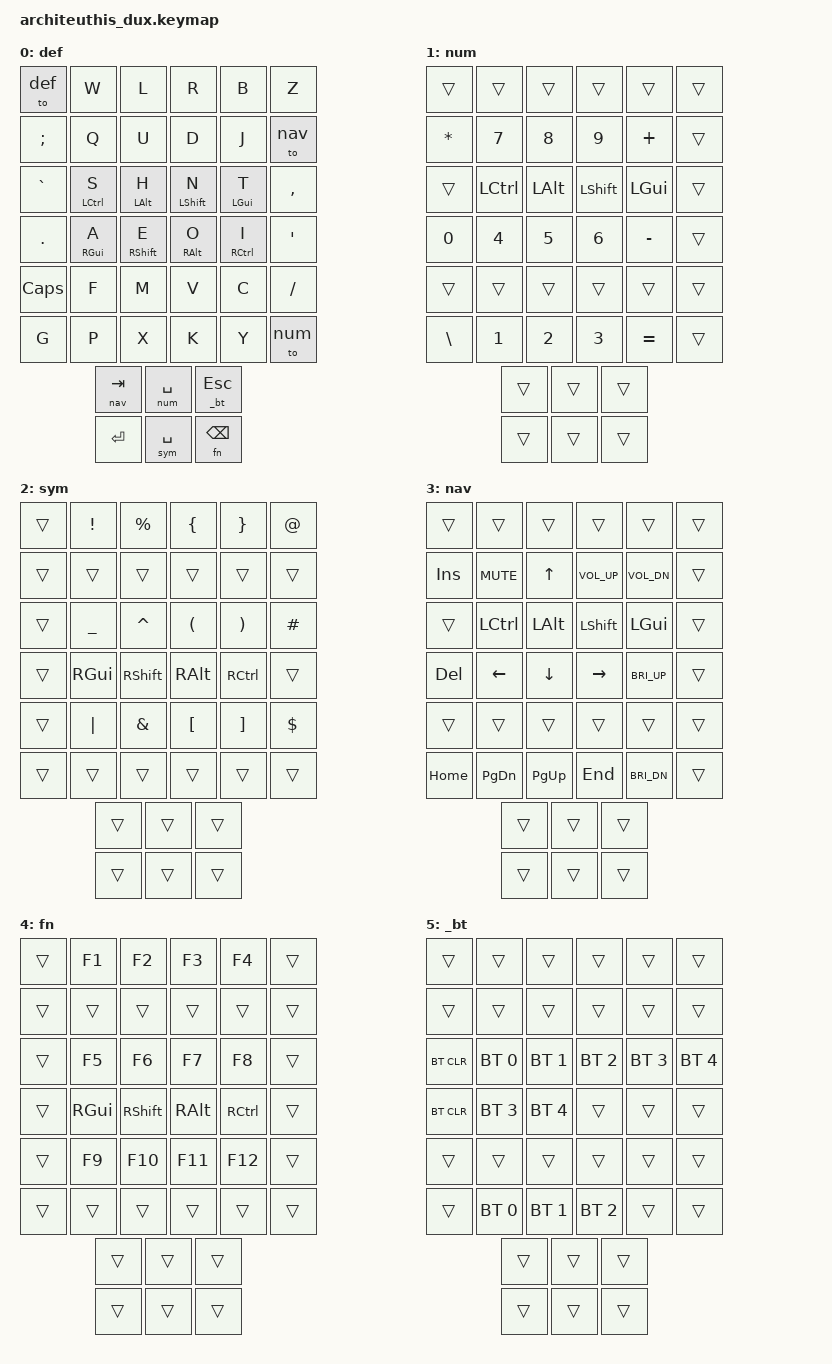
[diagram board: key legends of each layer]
/*
 * Copyright (c) 2020 The ZMK Contributors
 *
 * SPDX-License-Identifier: MIT
 */

#include <behaviors.dtsi>
#include <dt-bindings/zmk/keys.h>
#include <dt-bindings/zmk/bt.h>

#define def 0
#define num 1
#define sym 2
#define nav 3
#define fn 4
#define _bt 5

&kscan0 {
    debounce-period = <32>;
};

&lt {
    flavor = "balanced";
    tapping-term-ms = <1024>;
};

/ {
        behaviors {
            mt_l: left_hand_positional_hold_tap {
                compatible = "zmk,behavior-hold-tap";
                label = "LEFT_POSITIONAL_HOLD_TAP";
                #binding-cells = <2>;
                flavor = "balanced";
                tapping-term-ms = <256>;
                bindings = <&kp>, <&kp>;
                hold-trigger-key-positions = <6 7 8 9 10 11 18 19 20 21 22 23 30 31 32 33 34 35 39 40 41>;
            };
            mt_r: right_hand_positional_hold_tap {
                compatible = "zmk,behavior-hold-tap";
                label = "RIGHT_POSITIONAL_HOLD_TAP";
                #binding-cells = <2>;
                flavor = "balanced";
                tapping-term-ms = <256>;
                bindings = <&kp>, <&kp>;
                hold-trigger-key-positions = <0 1 2 3 4 5 12 13 14 15 16 17 24 25 26 27 28 29 36 37 38>;
            };
        };

        
        keymap {
                compatible = "zmk,keymap";

                def {
// ┌─────┬─────┬─────┬─────┬─────┬─────┐           ┌─────┬─────┬─────┬─────┬─────┬─────┐
// │     │  W  │  L  │  R  │  B  │  Z  │           │  ;  │  Q  │  U  │  D  │  J  │     │
// ├─────┼─────┼─────┼─────┼─────┼─────┤           ├─────┼─────┼─────┼─────┼─────┼─────┤
// │     │  S  │  H  │  N  │  T  │  ,  │           │  .  │  A  │  E  │  O  │  I  │     │
// ├─────┼─ c ─┼─ a ─┼─ s ─┼─ g ─┼─────┤           ├─────┼─ g ─┼─ s ─┼─ a ─┼─ c ─┼─────┤
// │     │  F  │  M  │  V  │  C  │  ?  │           │  G  │  P  │  X  │  K  │  Y  │     │
// └─────┴─────┴─────┴──┬──┴──┬──┴──┬──┴──┐     ┌──┴──┬──┴──┬──┴──┬──┴─────┴─────┴─────┘
//                      │     │ Spc │ Esc │     │ Ret │ Spc │     │
//                      └─────┴ num ┴ nav ┘     └─fn──┴ sym ┴─────┘

                        bindings = <
    &to def     &kp W       &kp L       &kp R       &kp B       &kp Z
        &kp SEMI        &kp Q       &kp U       &kp D       &kp J       &to nav

    &kp GRAVE       &mt_l LCTRL S     &mt_l LALT H      &mt_l LSHFT N     &mt_l LGUI T     &kp COMMA
        &kp DOT     &mt_r RGUI A      &mt_r RSHFT E     &mt_r RALT O      &mt_r RCTRL I     &kp APOS

    &kp CLCK       &kp F       &kp M       &kp V       &kp C       &kp SLASH 
        &kp G       &kp P       &kp X       &kp K       &kp Y       &to num
                  
    &lt nav TAB     &lt num SPACE       &lt _bt ESC
        &kp RET     &lt sym SPACE       &lt fn BSPC
                        >;
                };
                
                num {
// ┌─────┬─────┬─────┬─────┬─────┬─────┐           ┌─────┬─────┬─────┬─────┬─────┬─────┐
// │     │     │ fn  │ sym │     │     │           │     │  7  │  8  │  9  │  0  │     │
// ├─────┼─────┼─────┼─────┼─────┼─────┤           ├─────┼─────┼─────┼─────┼─────┼─────┤
// │     │  c  │  a  │  s  │  g  │ Rst │           │     │  4  │  5  │  6  │  -  │     │
// ├─────┼─────┼─────┼─────┼─────┼─────┤           ├─────┼─────┼─────┼─────┼─────┼─────┤
// │     │ cap │     │ def │     │ BLd │           │     │  1  │  2  │  3  │  =  │     │
// └─────┴─────┴─────┴──┬──┴──┬──┴──┬──┴──┐     ┌──┴──┬──┴──┬──┴──┬──┴─────┴─────┴─────┘
//                      │     │ Tab │     │     │     │ Bsp │     │
//                      └─────┴─────┴─────┘     └─────┴─────┴─────┘

                        bindings = <
    &trans     &trans       &trans      &trans      &trans       &trans
        &kp ASTRK        &kp N7      &kp N8      &kp N9      &kp PLUS        &trans

    &trans      &kp LCTRL     &kp LALT       &kp LSHFT     &kp LGUI     &trans
        &kp N0     &kp N4      &kp N5     &kp N6      &kp MINUS     &trans

    &trans     &trans       &trans      &trans      &trans       &trans
        &kp BSLH       &kp N1       &kp N2       &kp N3       &kp EQUAL     &trans

    &trans      &trans      &trans
        &trans      &trans      &trans

                        >;
                };

                sym {
// ┌─────┬─────┬─────┬─────┬─────┬─────┐           ┌─────┬─────┬─────┬─────┬─────┬─────┐
// │     │  "  │  '  │  {  │  }  │     │           │     │     │ num │ nav │     │     │
// ├─────┼─────┼─────┼─────┼─────┼─────┤           ├─────┼─────┼─────┼─────┼─────┼─────┤
// │     │  ~  │  `  │  (  │  )  │     │           │ Rst │  g  │  s  │  a  │  c  │     │
// ├─────┼─────┼─────┼─────┼─────┼─────┤           ├─────┼─────┼─────┼─────┼─────┼─────┤
// │     │  |  │  \  │  [  │  ]  │     │           │ BLd │     │ def │     │     │     │
// └─────┴─────┴─────┴──┬──┴──┬──┴──┬──┴──┐     ┌──┴──┬──┴──┬──┴──┬──┴─────┴─────┴─────┘
//                      │     │     │     │     │     │     │     │
//                      └─────┴─────┴─────┘     └─────┴─────┴─────┘

                        bindings = <
    &trans      &kp EXCL        &kp PRCNT      &kp LBRC      &kp RBRC       &kp AT
        &trans     &trans       &trans      &trans      &trans       &trans

    &trans      &kp UNDER        &kp CARET      &kp LPAR      &kp RPAR       &kp HASH
        &trans     &kp RGUI        &kp RSHFT        &kp RALT        &kp RCTRL      &trans

    &trans      &kp PIPE        &kp AMPS      &kp LBKT      &kp RBKT       &kp DLLR
        &trans     &trans       &trans      &trans      &trans       &trans

    &trans      &trans      &trans
        &trans      &trans      &trans
                        >;
                };

                nav {
// ┌─────┬─────┬─────┬─────┬─────┬─────┐           ┌─────┬─────┬─────┬─────┬─────┬─────┐
// │     │     │     │     │     │     │           │ Ins │ Mut │  ↑  │ VlU │ VlD │     │
// ├─────┼─────┼─────┼─────┼─────┼─────┤           ├─────┼─────┼─────┼─────┼─────┼─────┤
// │     │  c  │  a  │  s  │  g  │ BtC │           │ Del │  ←  │  ↓  │  →  │ BrU │     │
// ├─────┼─────┼─────┼─────┼─────┼─────┤           ├─────┼─────┼─────┼─────┼─────┼─────┤
// │     │ Bt0 │ Bt1 │ Bt2 │ Bt3 │ Bt4 │           │ Hom │ PgD │ PgU │ End │ BrD │     │
// └─────┴─────┴─────┴──┬──┴──┬──┴──┬──┴──┐     ┌──┴──┬──┴──┬──┴──┬──┴─────┴─────┴─────┘
//                      │     │     │     │     │     │     │     │
//                      └─────┴─────┴─────┘     └─────┴─────┴─────┘

                        bindings = <
    &trans     &trans       &trans      &trans      &trans       &trans
        &kp INS        &kp K_MUTE      &kp UP      &kp C_VOL_UP      &kp C_VOL_DN        &trans

    &trans      &kp LCTRL     &kp LALT       &kp LSHFT     &kp LGUI     &trans
        &kp DEL     &kp LEFT      &kp DOWN     &kp RIGHT      &kp C_BRI_UP     &trans

    &trans     &trans       &trans      &trans      &trans       &trans
        &kp HOME       &kp PG_DN       &kp PG_UP        &kp END       &kp C_BRI_DN     &trans

    &trans      &trans      &trans
        &trans      &trans      &trans
                        >;
                };

                fn {
// ┌─────┬─────┬─────┬─────┬─────┬─────┐           ┌─────┬─────┬─────┬─────┬─────┬─────┐
// │     │ F1  │ F2  │ F3  │ F4  │     │           │     │     │     │     │     │     │
// ├─────┼─────┼─────┼─────┼─────┼─────┤           ├─────┼─────┼─────┼─────┼─────┼─────┤
// │     │ F5  │ F6  │ F7  │ F8  │     │           │     │  g  │  s  │  a  │  c  │     │
// ├─────┼─────┼─────┼─────┼─────┼─────┤           ├─────┼─────┼─────┼─────┼─────┼─────┤
// │     │ F9  │ F10 │ F11 │ F12 │     │           │     │     │     │     │     │     │
// └─────┴─────┴─────┴──┬──┴──┬──┴──┬──┴──┐     ┌──┴──┬──┴──┬──┴──┬──┴─────┴─────┴─────┘
//                      │     │     │     │     │     │     │     │
//                      └─────┴─────┴─────┘     └─────┴─────┴─────┘

                        bindings = <
    &trans      &kp F1        &kp F2      &kp F3      &kp F4       &trans
        &trans     &trans       &trans      &trans      &trans       &trans

    &trans      &kp F5        &kp F6      &kp F7      &kp F8       &trans
        &trans     &kp RGUI        &kp RSHFT        &kp RALT        &kp RCTRL      &trans

    &trans      &kp F9        &kp F10      &kp F11      &kp F12       &trans
        &trans     &trans       &trans      &trans      &trans       &trans

    &trans      &trans      &trans
        &trans      &trans      &trans
                        >;
                };

                _bt {
// ┌─────┬─────┬─────┬─────┬─────┬─────┐           ┌─────┬─────┬─────┬─────┬─────┬─────┐
// │     │     │     │     │     │     │           │     │     │     │     │     │     │
// ├─────┼─────┼─────┼─────┼─────┼─────┤           ├─────┼─────┼─────┼─────┼─────┼─────┤
// │ BtC │ Bt0 │ Bt1 │ Bt2 │ Bt3 │ Bt4 │           │ BtC │ Bt3 │ Bt4 │     │     │     │
// ├─────┼─────┼─────┼─────┼─────┼─────┤           ├─────┼─────┼─────┼─────┼─────┼─────┤
// │     │     │     │     │     │     │           │     │ Bt0 │ Bt1 │ Bt2 │     │     │
// └─────┴─────┴─────┴──┬──┴──┬──┴──┬──┴──┐     ┌──┴──┬──┴──┬──┴──┬──┴─────┴─────┴─────┘
//                      │     │     │     │     │     │     │     │
//                      └─────┴─────┴─────┘     └─────┴─────┴─────┘

                        bindings = <
    &trans     &trans       &trans      &trans      &trans       &trans
        &trans     &trans       &trans      &trans      &trans       &trans

    &bt BT_CLR      &bt BT_SEL 0    &bt BT_SEL 1    &bt BT_SEL 2    &bt BT_SEL 3    &bt BT_SEL 4
        &bt BT_CLR     &bt BT_SEL 3       &bt BT_SEL 4       &trans      &trans      &trans

    &trans     &trans       &trans      &trans      &trans       &trans
        &trans      &bt BT_SEL 0       &bt BT_SEL 1       &bt BT_SEL 2       &trans      &trans

    &trans      &trans      &trans
        &trans      &trans      &trans
                        >;
                };

        };
};
